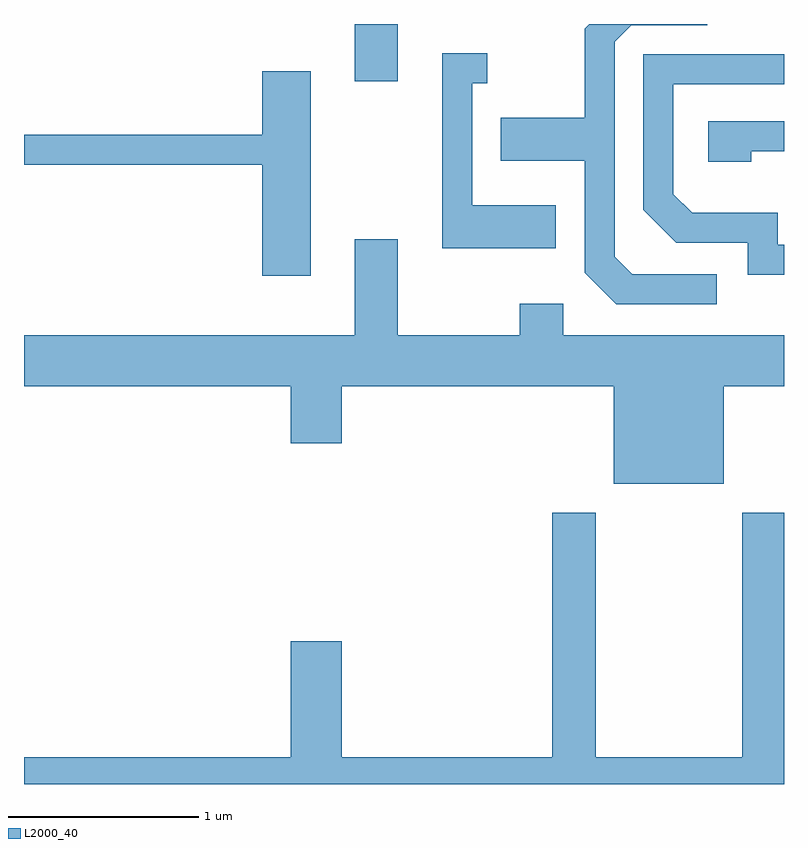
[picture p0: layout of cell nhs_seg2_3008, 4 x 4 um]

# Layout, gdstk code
import gdstk
lib = gdstk.Library(unit=1e-6, precision=1e-09)
def R(c, l, rs):  # rectangles x0, y0, x1, y1
    for r in rs: c.add(gdstk.rectangle(r[:2], r[2:], *l))
def P(c, l, *ps):  # polygons
    for p in ps: c.add(gdstk.Polygon(p, *l))
L2000_40 = (2000, 40)

nhs_seg2_3008 = lib.new_cell('nhs_seg2_3008')
R(nhs_seg2_3008, L2000_40, [(275.351,1025.501,275.579,1025.802)])
P(nhs_seg2_3008, L2000_40, [(277.258,1024.484),(276.812,1024.484),(276.719,1024.577),(276.719,1025.709),(276.807,1025.796),(277.208,1025.796),(277.208,1025.802),(276.586,1025.802),(276.561,1025.777),(276.561,1025.309),(276.121,1025.309),(276.121,1025.081),(276.561,1025.081),(276.561,1024.494),(276.729,1024.326),(277.258,1024.326)],
  [(276.409,1024.849),(275.969,1024.849),(275.969,1025.491),(276.048,1025.491),(276.048,1025.649),(275.811,1025.649),(275.811,1024.621),(276.409,1024.621)],
  [(277.611,1024.639),(277.579,1024.639),(277.579,1024.809),(277.127,1024.809),(277.029,1024.907),(277.029,1025.486),(277.611,1025.486),(277.611,1025.644),(276.871,1025.644),(276.871,1024.824),(277.044,1024.651),(277.421,1024.651),(277.421,1024.481),(277.611,1024.481)],
  [(275.119,1025.554),(274.866,1025.554),(274.866,1025.219),(273.611,1025.219),(273.611,1025.061),(274.866,1025.061),(274.866,1024.476),(275.119,1024.476)],
  [(277.439,1025.131),(277.611,1025.131),(277.611,1025.289),(277.211,1025.289),(277.211,1025.076),(277.439,1025.076)],
  [(277.294,1023.896),(277.611,1023.896),(277.611,1024.164),(276.449,1024.164),(276.449,1024.329),(276.221,1024.329),(276.221,1024.164),(275.579,1024.164),(275.579,1024.669),(275.351,1024.669),(275.351,1024.164),(273.611,1024.164),(273.611,1023.896),(275.016,1023.896),(275.016,1023.596),(275.284,1023.596),(275.284,1023.896),(276.716,1023.896),(276.716,1023.381),(277.294,1023.381)],
  [(277.611,1023.229),(277.391,1023.229),(277.391,1021.944),(276.619,1021.944),(276.619,1023.229),(276.391,1023.229),(276.391,1021.944),(275.284,1021.944),(275.284,1022.554),(275.016,1022.554),(275.016,1021.944),(273.611,1021.944),(273.611,1021.802),(277.611,1021.802)])

lib.write_gds('nhs_seg2_3008.gds')
